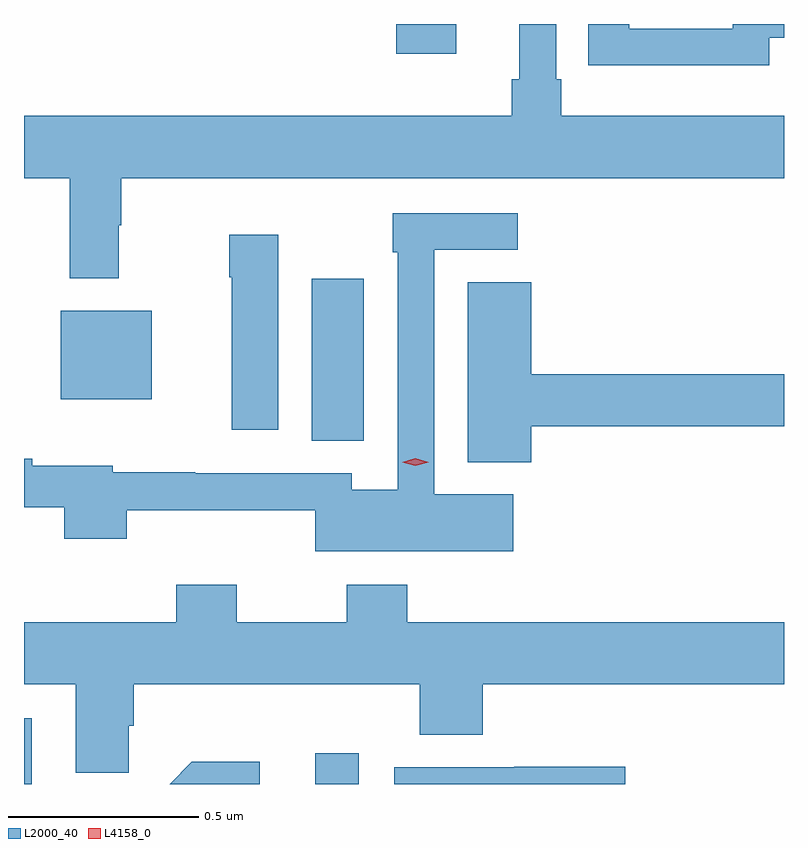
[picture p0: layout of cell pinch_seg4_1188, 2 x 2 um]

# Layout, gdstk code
import gdstk
lib = gdstk.Library(unit=1e-6, precision=1e-09)
def R(c, l, rs):  # rectangles x0, y0, x1, y1
    for r in rs: c.add(gdstk.rectangle(r[:2], r[2:], *l))
def P(c, l, *ps):  # polygons
    for p in ps: c.add(gdstk.Polygon(p, *l))
L2000_40 = (2000, 40)
L4158_0 = (4158, 0)

pinch_seg4_1188 = lib.new_cell('pinch_seg4_1188')
R(pinch_seg4_1188, L2000_40, [(494.263,765.922,494.283,766.095), (495.029,765.922,495.144,766.003), (495.02,766.825,495.157,767.251), (494.36,766.934,494.599,767.167), (495.242,767.844,495.4,767.922)])
P(pinch_seg4_1188, L2000_40, [(494.512,767.393),(494.519,767.393),(494.519,767.516),(496.263,767.516),(496.263,767.68),(495.677,767.68),(495.677,767.776),(495.663,767.776),(495.663,767.922),(495.566,767.922),(495.566,767.776),(495.547,767.776),(495.547,767.68),(494.263,767.68),(494.263,767.516),(494.383,767.516),(494.383,767.253),(494.512,767.253)],
  [(496.224,767.886),(496.263,767.886),(496.263,767.922),(496.128,767.922),(496.128,767.91),(495.856,767.91),(495.856,767.922),(495.748,767.922),(495.748,767.814),(495.856,767.814),(495.856,767.813),(496.224,767.813)],
  [(495.55,766.684),(495.342,766.684),(495.342,767.328),(495.562,767.328),(495.562,767.424),(495.234,767.424),(495.234,767.321),(495.246,767.321),(495.246,766.696),(495.126,766.696),(495.126,766.74),(494.714,766.74),(494.714,766.742),(494.496,766.742),(494.496,766.759),(494.285,766.759),(494.285,766.778),(494.263,766.778),(494.263,766.65),(494.369,766.65),(494.369,766.568),(494.534,766.568),(494.534,766.643),(495.03,766.643),(495.03,766.535),(495.55,766.535)],
  [(494.932,767.368),(494.803,767.368),(494.803,767.255),(494.81,767.255),(494.81,766.854),(494.932,766.854)],
  [(495.598,766.864),(496.263,766.864),(496.263,767),(495.598,767),(495.598,767.243),(495.431,767.243),(495.431,766.769),(495.598,766.769)],
  [(494.538,766.075),(494.552,766.075),(494.552,766.184),(495.305,766.184),(495.305,766.051),(495.47,766.051),(495.47,766.184),(496.263,766.184),(496.263,766.348),(495.272,766.348),(495.272,766.447),(495.112,766.447),(495.112,766.348),(494.823,766.348),(494.823,766.447),(494.663,766.447),(494.663,766.348),(494.263,766.348),(494.263,766.184),(494.399,766.184),(494.399,765.952),(494.538,765.952)],
  [(494.884,765.98),(494.705,765.98),(494.647,765.922),(494.884,765.922)],
  [(495.845,765.968),(495.553,765.968),(495.553,765.966),(495.237,765.966),(495.237,765.922),(495.845,765.922)])
P(pinch_seg4_1188, L4158_0, [(495.293,766.759),(495.258,766.769),(495.258,766.769),(495.258,766.769),(495.293,766.779),(495.328,766.769),(495.328,766.769),(495.328,766.769)])

lib.write_gds('pinch_seg4_1188.gds')
